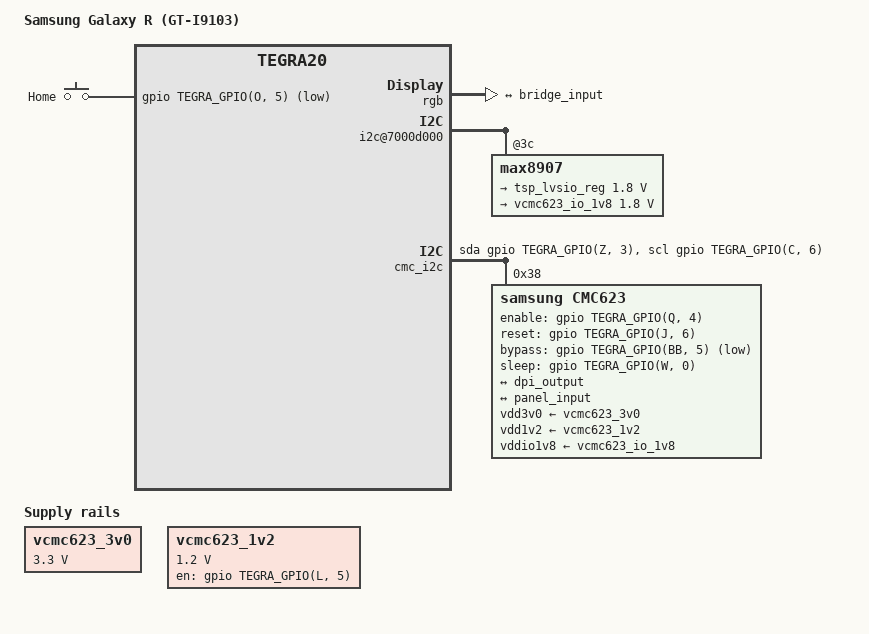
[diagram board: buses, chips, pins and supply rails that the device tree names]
// SPDX-License-Identifier: GPL-2.0
/dts-v1/;

#include "tegra20-samsung-n1-common.dtsi"

/ {
	model = "Samsung Galaxy R (GT-I9103)";
	compatible = "samsung,n1", "nvidia,tegra20";

	aliases {
		i2c10 = &cmc_i2c;
		spi0 = &panel_spi;
	};

	host1x@50000000 {
		dc@54200000 {
			rgb {
				status = "okay";

				port {
					dpi_output: endpoint {
						remote-endpoint = <&bridge_input>;
						bus-width = <24>;
					};
				};
			};
		};
	};

	pinmux@70000014 {
		pinctrl-names = "default";
		pinctrl-0 = <&state_default>;

		state_default: pinmux {
			conf-dtf {
				nvidia,pins = "dtf", "spdi", "spih";
				nvidia,pull = <TEGRA_PIN_PULL_NONE>;
				nvidia,tristate = <TEGRA_PIN_DISABLE>;
			};

			conf-gpv {
				nvidia,pins = "gpv", "spib";
				nvidia,pull = <TEGRA_PIN_PULL_DOWN>;
				nvidia,tristate = <TEGRA_PIN_DISABLE>;
			};

			conf-kbcd {
				nvidia,pins = "kbcd";
				nvidia,pull = <TEGRA_PIN_PULL_UP>;
				nvidia,tristate = <TEGRA_PIN_DISABLE>;
			};
		};
	};

	memory-controller@7000f400 {
		nvidia,use-ram-code;
		//TODO
	};
	
#if 0
	//TODO
	i2cmux {
		i2c@0 {
			mxt224e@4a {
				/* VDD LVSIO (level shifter) is not yet
				 * implemented in maxtouch driver
				 * TODO: lvsio-supply = <&tsp_lvsio_reg>;
				 */
			};
		};
	};
#endif
	
	i2c@7000c500 {
		/* Not supported - no DT binding */
		/* s5k4ecgx@56 {
			reg = <0x56>;
		};
		*/
	};

	i2c@7000d000 {
		max8907@3c {
			regulators {
				tsp_lvsio_reg: ldo14 {
					/* TODO Downstream says 2.8v in n1 and 1.8v in bose */
					regulator-name = "tsp_vdd_lvsio";
					regulator-min-microvolt = <1800000>;
					regulator-max-microvolt = <1800000>;
				};

				vcmc623_io_1v8: ldo15 {
					regulator-name = "vcmc623_io_1v8";
					regulator-min-microvolt = <1800000>;
					regulator-max-microvolt = <1800000>;
				};
			};
		};
	};

#if 0
	//TODO
	i2c-5 {
		max17043@36 {
			power-supplies = <&usb_ta_charger>;
		};
	};
#endif

	cmc_i2c: i2c-10 {
		compatible = "i2c-gpio";

		sda-gpios = <&gpio TEGRA_GPIO(Z, 3) GPIO_ACTIVE_HIGH>;
		scl-gpios = <&gpio TEGRA_GPIO(C, 6) GPIO_ACTIVE_HIGH>;

		i2c-gpio,scl-output-only;
		i2c-gpio,delay-us = <1>;

		#address-cells = <1>;
		#size-cells = <0>;

		cmc623: bridge@38 {
			compatible = "samsung,cmc623";
			reg = <0x38>;

			enable-gpios = <&gpio TEGRA_GPIO(Q, 4) GPIO_ACTIVE_HIGH>;
			reset-gpios = <&gpio TEGRA_GPIO(J, 6) GPIO_ACTIVE_HIGH>;

			bypass-gpios = <&gpio TEGRA_GPIO(BB, 5) GPIO_ACTIVE_LOW>;
			sleep-gpios = <&gpio TEGRA_GPIO(W, 0) GPIO_ACTIVE_HIGH>;

			vdd3v0-supply = <&vcmc623_3v0>;
			vdd1v2-supply = <&vcmc623_1v2>;
			vddio1v8-supply = <&vcmc623_io_1v8>;

			cmc623_backlight: backlight {
				compatible = "samsung,cmc623-backlight";

				enable-gpios = <&gpio TEGRA_GPIO(R, 3) GPIO_ACTIVE_HIGH>;
			};

			ports {
				#address-cells = <1>;
				#size-cells = <0>;

				port@0 {
					reg = <0>;

					bridge_input: endpoint {
						remote-endpoint = <&dpi_output>;
					};
				};

				port@1 {
					reg = <1>;

					bridge_output: endpoint {
						remote-endpoint = <&panel_input>;
					};
				};
			};
		};
	};

#if 0
	i2c-17 {
		sda-gpios = <&gpio TEGRA_GPIO(T, 6) (GPIO_ACTIVE_HIGH | GPIO_OPEN_DRAIN)>;
		scl-gpios = <&gpio TEGRA_GPIO(T, 5) (GPIO_ACTIVE_HIGH | GPIO_OPEN_DRAIN)>;
	};
#endif

	panel_spi: spi@7000d800 {
		status = "okay";
		spi-max-frequency = <1000000>;

		panel: panel@2 {
			/* 480x800 TFT LCD panel */
			compatible = "sony,l4f00430t01";
			reg = <2>;

			spi-max-frequency = <1000000>;

			spi-cpol;
			spi-cpha;

			reset-gpios = <&gpio TEGRA_GPIO(C, 1) GPIO_ACTIVE_LOW>;

			vdd1v8-supply = <&vlcd_1v8_reg>;
			vdd3v0-supply = <&vlcd_3v0_reg>;

			panel-width-mm = <55>;
			panel-height-mm = <91>;

			backlight = <&cmc623_backlight>;

			port {
				panel_input: endpoint {
					remote-endpoint = <&bridge_output>;
				};
			};
		};
	};

	sdhci@c8000400 {
		/* battery blocks the sdcard slot and the device lacks CD pin */
		non-removable;
	};

	gpio-keys {
		compatible = "gpio-keys";

		key-home {
			label = "Home";
			gpios = <&gpio TEGRA_GPIO(O, 5) GPIO_ACTIVE_LOW>;
			linux,code = <KEY_ENTER>;
		};
	};

	vcmc623_3v0: regulator-cmc623-3v0 {
		compatible = "regulator-fixed";
		regulator-name = "vcmc623_3v0";
		regulator-min-microvolt = <3300000>;
		regulator-max-microvolt = <3300000>;
	};

	vcmc623_1v2: regulator-cmc623-1v2 {
		compatible = "regulator-fixed";
		regulator-name = "vcmc623_1v2";
		regulator-min-microvolt = <1200000>;
		regulator-max-microvolt = <1200000>;
		gpio = <&gpio TEGRA_GPIO(L, 5) GPIO_ACTIVE_HIGH>;
		enable-active-high;
	};
	
#if 0
	sound {
		compatible = "samsung,tegra-audio-wm8994-n1",
					 "nvidia,tegra-audio-wm8994";
		nvidia,model = "Samsung GT-I9103 Galaxy R WM8994";
	}
	
	/* TODO check schematics */
	usb_ta_charger: max8922-charger {
		compatible = "maxim,max8903";
		chg-gpios = <&stmpegpio 16 GPIO_ACTIVE_LOW>;
		cen-gpios = <&gpio TEGRA_GPIO(X, 0) GPIO_ACTIVE_LOW>;
		uok-gpios = <&gpio TEGRA_GPIO(T, 0) GPIO_ACTIVE_LOW>;
		/*
		 * Original sources also use FSA9480 for USB charger
		 * detection, but it's on extcon and not GPIO,
		 * so skip it since dok (GPIO_TA_nCONNECTED) works fine.
		 * (specified as uok since USB is detected)
		 */

		// charger_supply: otg-vbus {}; // not implemented yet
	};
#endif
};

